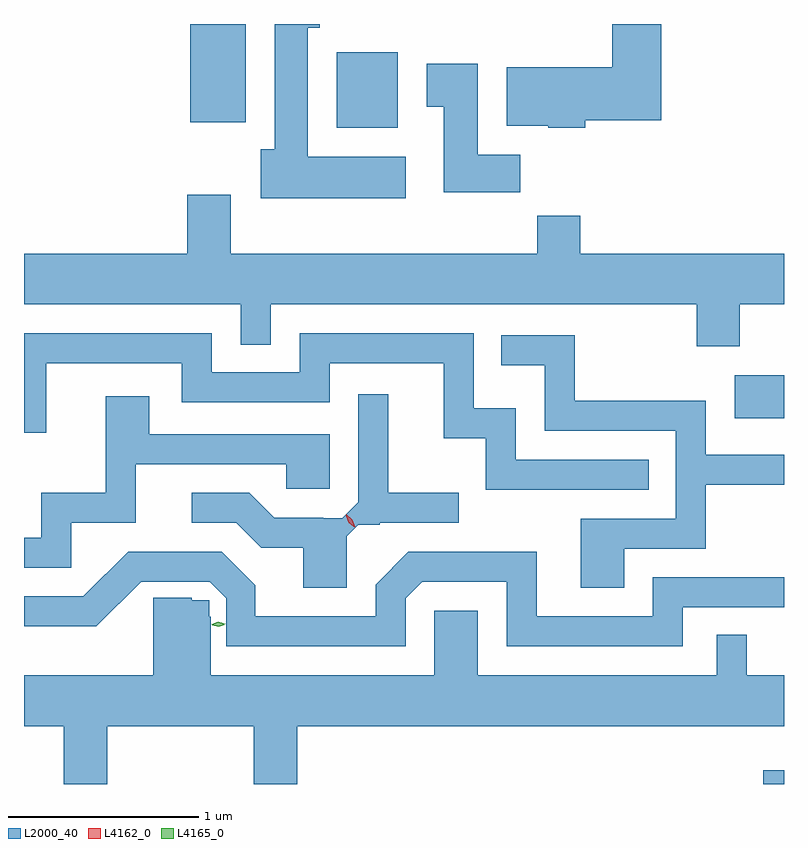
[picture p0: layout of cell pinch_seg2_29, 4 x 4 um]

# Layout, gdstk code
import gdstk
lib = gdstk.Library(unit=1e-6, precision=1e-09)
def R(c, l, rs):  # rectangles x0, y0, x1, y1
    for r in rs: c.add(gdstk.rectangle(r[:2], r[2:], *l))
def P(c, l, *ps):  # polygons
    for p in ps: c.add(gdstk.Polygon(p, *l))
L2000_40 = (2000, 40)
L4162_0 = (4162, 0)
L4165_0 = (4165, 0)

pinch_seg2_29 = lib.new_cell('pinch_seg2_29')
R(pinch_seg2_29, L2000_40, [(1690.141,1056.892,1690.251,1056.964), (1689.991,1058.816,1690.251,1059.044), (1687.896,1060.346,1688.219,1060.744), (1687.126,1060.376,1687.419,1060.892)])
P(pinch_seg2_29, L2000_40, [(1688.259,1060.194),(1687.744,1060.194),(1687.744,1060.871),(1687.808,1060.871),(1687.808,1060.892),(1687.571,1060.892),(1687.571,1060.234),(1687.496,1060.234),(1687.496,1059.976),(1688.259,1059.976)],
  [(1689.204,1060.386),(1689.604,1060.386),(1689.604,1060.892),(1689.346,1060.892),(1689.346,1060.664),(1688.791,1060.664),(1688.791,1060.356),(1689.01,1060.356),(1689.01,1060.346),(1689.204,1060.346)],
  [(1688.864,1060.204),(1688.639,1060.204),(1688.639,1060.684),(1688.371,1060.684),(1688.371,1060.456),(1688.461,1060.456),(1688.461,1060.006),(1688.864,1060.006)],
  [(1690.019,1059.416),(1690.251,1059.416),(1690.251,1059.684),(1689.179,1059.684),(1689.179,1059.884),(1688.951,1059.884),(1688.951,1059.684),(1687.339,1059.684),(1687.339,1059.994),(1687.111,1059.994),(1687.111,1059.684),(1686.251,1059.684),(1686.251,1059.416),(1687.391,1059.416),(1687.391,1059.203),(1687.549,1059.203),(1687.549,1059.416),(1689.791,1059.416),(1689.791,1059.196),(1690.019,1059.196)],
  [(1689.538,1058.599),(1688.839,1058.599),(1688.839,1058.869),(1688.619,1058.869),(1688.619,1059.264),(1687.701,1059.264),(1687.701,1059.059),(1687.239,1059.059),(1687.239,1059.264),(1686.251,1059.264),(1686.251,1058.741),(1686.369,1058.741),(1686.369,1059.106),(1687.081,1059.106),(1687.081,1058.901),(1687.859,1058.901),(1687.859,1059.106),(1688.461,1059.106),(1688.461,1058.711),(1688.681,1058.711),(1688.681,1058.441),(1689.538,1058.441)],
  [(1689.409,1058.131),(1689.839,1058.131),(1689.839,1058.466),(1690.251,1058.466),(1690.251,1058.624),(1689.839,1058.624),(1689.839,1058.909),(1689.149,1058.909),(1689.149,1059.254),(1688.763,1059.254),(1688.763,1059.096),(1688.991,1059.096),(1688.991,1058.751),(1689.681,1058.751),(1689.681,1058.289),(1689.181,1058.289),(1689.181,1057.926),(1689.409,1057.926)],
  [(1687.949,1058.196),(1688.01,1058.257),(1688.123,1058.257),(1688.123,1058.266),(1688.538,1058.266),(1688.538,1058.424),(1688.169,1058.424),(1688.169,1058.943),(1688.011,1058.943),(1688.011,1058.376),(1687.925,1058.29),(1687.825,1058.29),(1687.825,1058.294),(1687.567,1058.294),(1687.437,1058.424),(1687.133,1058.424),(1687.133,1058.266),(1687.369,1058.266),(1687.499,1058.136),(1687.721,1058.136),(1687.721,1057.926),(1687.949,1057.926)],
  [(1686.499,1058.266),(1686.839,1058.266),(1686.839,1058.576),(1687.631,1058.576),(1687.631,1058.446),(1687.859,1058.446),(1687.859,1058.734),(1686.909,1058.734),(1686.909,1058.934),(1686.681,1058.934),(1686.681,1058.424),(1686.341,1058.424),(1686.341,1058.189),(1686.251,1058.189),(1686.251,1058.031),(1686.499,1058.031)],
  [(1688.259,1057.869),(1688.347,1057.956),(1688.791,1057.956),(1688.791,1057.616),(1689.719,1057.616),(1689.719,1057.821),(1690.251,1057.821),(1690.251,1057.979),(1689.561,1057.979),(1689.561,1057.774),(1688.949,1057.774),(1688.949,1058.114),(1688.274,1058.114),(1688.101,1057.942),(1688.101,1057.774),(1687.469,1057.774),(1687.469,1057.937),(1687.292,1058.114),(1686.799,1058.114),(1686.564,1057.879),(1686.251,1057.879),(1686.251,1057.721),(1686.632,1057.721),(1686.867,1057.957),(1687.229,1057.957),(1687.315,1057.87),(1687.315,1057.616),(1688.259,1057.616)],
  [(1686.689,1057.196),(1687.461,1057.196),(1687.461,1056.892),(1687.689,1056.892),(1687.689,1057.196),(1690.251,1057.196),(1690.251,1057.464),(1690.054,1057.464),(1690.054,1057.678),(1689.896,1057.678),(1689.896,1057.464),(1688.639,1057.464),(1688.639,1057.804),(1688.411,1057.804),(1688.411,1057.464),(1687.235,1057.464),(1687.235,1057.772),(1687.225,1057.772),(1687.225,1057.86),(1687.135,1057.86),(1687.135,1057.873),(1686.932,1057.873),(1686.932,1057.772),(1686.931,1057.772),(1686.931,1057.464),(1686.251,1057.464),(1686.251,1057.196),(1686.461,1057.196),(1686.461,1056.892),(1686.689,1056.892)])
P(pinch_seg2_29, L4162_0, [(1687.987,1058.246),(1687.959,1058.268),(1687.946,1058.302),(1687.946,1058.303),(1687.947,1058.303),(1687.975,1058.28),(1687.988,1058.247),(1687.988,1058.246)],
  [(1687.994,1058.243),(1687.994,1058.243),(1687.963,1058.271),(1687.947,1058.31),(1687.947,1058.311),(1687.948,1058.311),(1687.979,1058.283),(1687.995,1058.244)])
P(pinch_seg2_29, L4165_0, [(1687.275,1057.725),(1687.24,1057.733),(1687.239,1057.734),(1687.24,1057.734),(1687.274,1057.745),(1687.31,1057.736),(1687.31,1057.736),(1687.31,1057.735)],
  [(1687.276,1057.719),(1687.243,1057.728),(1687.242,1057.728),(1687.243,1057.729),(1687.275,1057.74),(1687.308,1057.731),(1687.308,1057.731),(1687.308,1057.73)])

lib.write_gds('pinch_seg2_29.gds')
